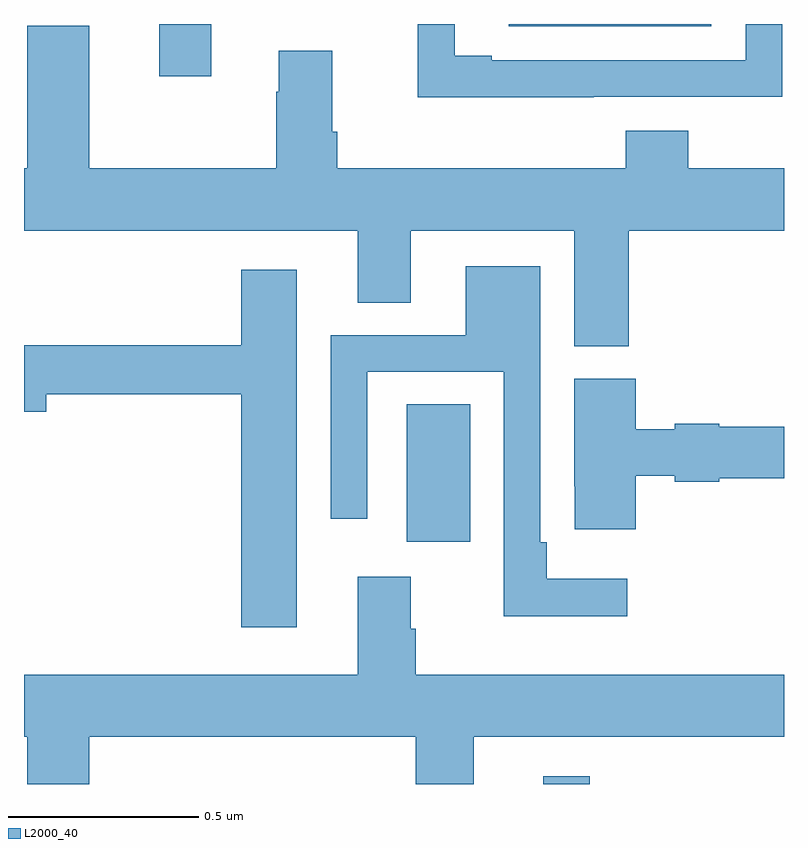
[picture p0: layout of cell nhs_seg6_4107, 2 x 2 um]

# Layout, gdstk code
import gdstk
lib = gdstk.Library(unit=1e-6, precision=1e-09)
def R(c, l, rs):  # rectangles x0, y0, x1, y1
    for r in rs: c.add(gdstk.rectangle(r[:2], r[2:], *l))
def P(c, l, *ps):  # polygons
    for p in ps: c.add(gdstk.Polygon(p, *l))
L2000_40 = (2000, 40)

nhs_seg6_4107 = lib.new_cell('nhs_seg6_4107')
R(nhs_seg6_4107, L2000_40, [(166.367,992.5,166.489,992.521), (166.007,993.138,166.174,993.5), (165.356,994.362,165.493,994.5), (166.275,994.494,166.809,994.5)])
P(nhs_seg6_4107, L2000_40, [(166.499,994.308),(166.995,994.308),(166.995,994.5),(166.899,994.5),(166.899,994.404),(166.231,994.404),(166.231,994.417),(166.134,994.417),(166.134,994.5),(166.036,994.5),(166.036,994.307),(166.499,994.307)],
  [(166.592,993.956),(167,993.956),(167,994.12),(166.748,994.12),(166.748,994.219),(166.583,994.219),(166.583,994.12),(165.824,994.12),(165.824,994.216),(165.811,994.216),(165.811,994.429),(165.671,994.429),(165.671,994.322),(165.664,994.322),(165.664,994.12),(165.172,994.12),(165.172,994.495),(165.008,994.495),(165.008,994.12),(165,994.12),(165,993.956),(165.878,993.956),(165.878,993.766),(166.018,993.766),(166.018,993.956),(166.448,993.956),(166.448,993.652),(166.592,993.652)],
  [(166.588,993.04),(166.375,993.04),(166.375,993.136),(166.359,993.136),(166.359,993.862),(166.163,993.862),(166.163,993.681),(165.807,993.681),(165.807,993.198),(165.903,993.198),(165.903,993.585),(166.263,993.585),(166.263,992.942),(166.588,992.942)],
  [(165.718,993.853),(165.572,993.853),(165.572,993.655),(165,993.655),(165,993.479),(165.058,993.479),(165.058,993.526),(165.572,993.526),(165.572,992.913),(165.718,992.913)],
  [(166.61,993.311),(166.712,993.311),(166.712,993.296),(166.83,993.296),(166.83,993.304),(167,993.304),(167,993.44),(166.83,993.44),(166.83,993.448),(166.712,993.448),(166.712,993.433),(166.61,993.433),(166.61,993.567),(166.448,993.567),(166.448,993.283),(166.449,993.283),(166.449,993.171),(166.61,993.171)],
  [(165.172,992.624),(166.031,992.624),(166.031,992.5),(166.183,992.5),(166.183,992.624),(167,992.624),(167,992.788),(166.031,992.788),(166.031,992.909),(166.018,992.909),(166.018,993.046),(165.878,993.046),(165.878,992.788),(165,992.788),(165,992.624),(165.008,992.624),(165.008,992.5),(165.172,992.5)])

lib.write_gds('nhs_seg6_4107.gds')
